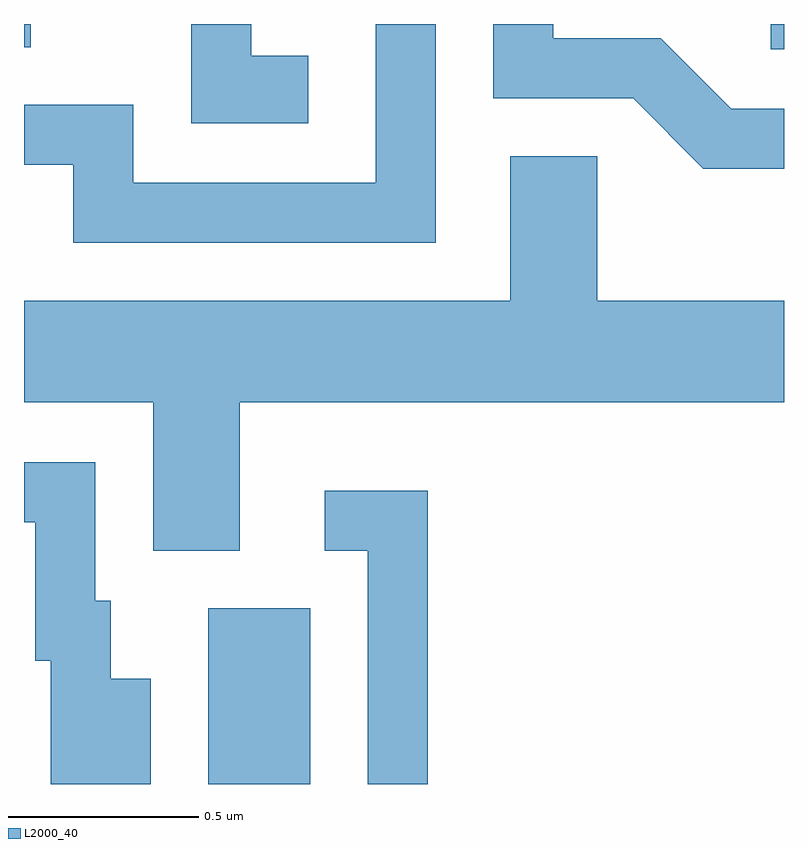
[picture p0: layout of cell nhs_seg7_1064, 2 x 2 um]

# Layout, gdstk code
import gdstk
lib = gdstk.Library(unit=1e-6, precision=1e-09)
def R(c, l, rs):  # rectangles x0, y0, x1, y1
    for r in rs: c.add(gdstk.rectangle(r[:2], r[2:], *l))
def P(c, l, *ps):  # polygons
    for p in ps: c.add(gdstk.Polygon(p, *l))
L2000_40 = (2000, 40)

nhs_seg7_1064 = lib.new_cell('nhs_seg7_1064')
R(nhs_seg7_1064, L2000_40, [(193.096,1773.252,193.364,1773.714), (194.576,1775.186,194.611,1775.252), (192.611,1775.191,192.629,1775.252)])
P(nhs_seg7_1064, L2000_40, [(193.694,1775.252),(193.536,1775.252),(193.536,1774.834),(192.899,1774.834),(192.899,1775.039),(192.611,1775.039),(192.611,1774.881),(192.741,1774.881),(192.741,1774.676),(193.694,1774.676)],
  [(193.359,1775.169),(193.209,1775.169),(193.209,1775.252),(193.051,1775.252),(193.051,1774.991),(193.359,1774.991)],
  [(194.611,1775.029),(194.472,1775.029),(194.287,1775.214),(194.004,1775.214),(194.004,1775.252),(193.846,1775.252),(193.846,1775.056),(194.214,1775.056),(194.399,1774.871),(194.611,1774.871)],
  [(193.179,1774.256),(194.611,1774.256),(194.611,1774.524),(194.119,1774.524),(194.119,1774.904),(193.891,1774.904),(193.891,1774.524),(192.611,1774.524),(192.611,1774.256),(192.951,1774.256),(192.951,1773.866),(193.179,1773.866)],
  [(192.944,1773.529),(192.839,1773.529),(192.839,1773.734),(192.799,1773.734),(192.799,1774.099),(192.611,1774.099),(192.611,1773.941),(192.641,1773.941),(192.641,1773.576),(192.681,1773.576),(192.681,1773.252),(192.944,1773.252)],
  [(193.674,1774.024),(193.403,1774.024),(193.403,1773.866),(193.516,1773.866),(193.516,1773.252),(193.674,1773.252)])

lib.write_gds('nhs_seg7_1064.gds')
